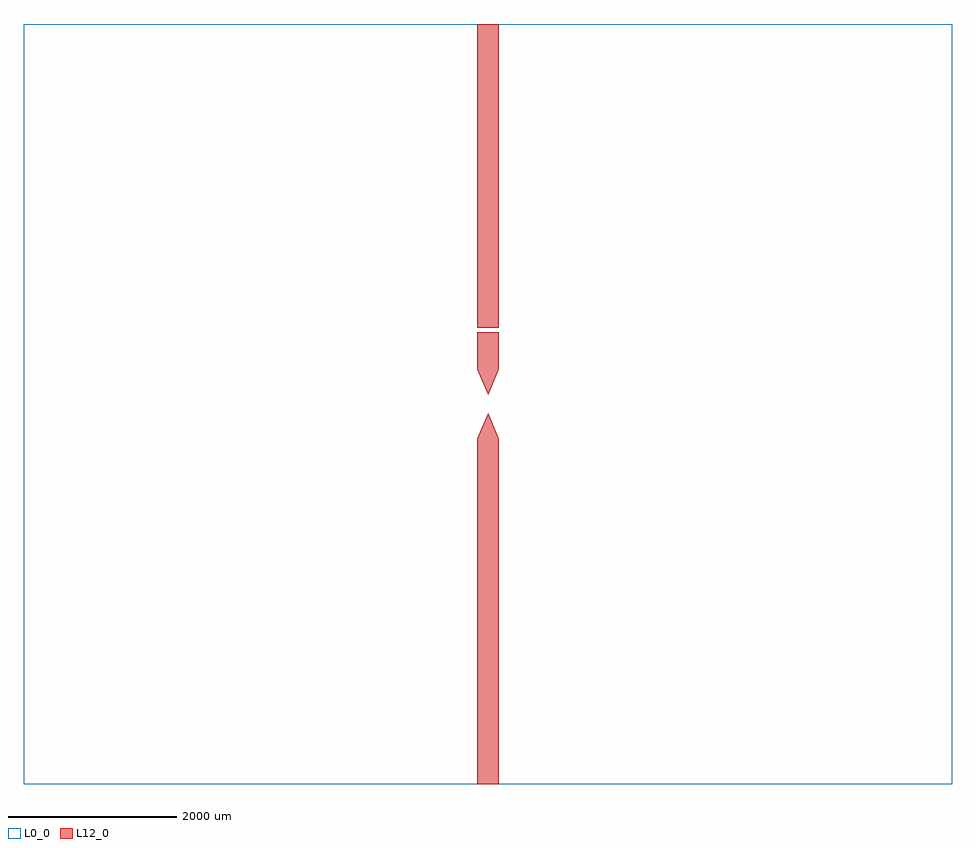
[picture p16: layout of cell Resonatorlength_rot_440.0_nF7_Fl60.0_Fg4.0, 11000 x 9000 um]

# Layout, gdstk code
import gdstk
lib = gdstk.Library(unit=1e-6, precision=1e-09)
def R(c, l, rs):  # rectangles x0, y0, x1, y1
    for r in rs: c.add(gdstk.rectangle(r[:2], r[2:], *l))
def P(c, l, *ps):  # polygons
    for p in ps: c.add(gdstk.Polygon(p, *l))
L0_0 = (0, 0)
L12_0 = (12, 0)

resonatorlength_rot_440_ = lib.new_cell('Resonatorlength_rot_440.0_nF7_Fl60.0_Fg4.0')
R(resonatorlength_rot_440_, L0_0, [(-5500,-4500,5500,4500)])
R(resonatorlength_rot_440_, L12_0, [(-125,-4500,125,-916), (-125,-916,-92.714,-856), (-52.429,-916,-20.143,-856), (20.143,-916,52.429,-856), (92.714,-916,125,-856), (-88.714,-912,-56.429,-852), (-16.143,-912,16.143,-852), (56.429,-912,88.714,-852), (-125,-852,125,-412), (-125,412,125,852), (-125,902,125,4500)])
P(resonatorlength_rot_440_, L12_0, [(-125,-412),(125,-412),(0,-108.5)],
  [(-125,412),(125,412),(0,108.5)])

lib.write_gds('Resonatorlength_rot_440.0_nF7_Fl60.0_Fg4.0.gds')
